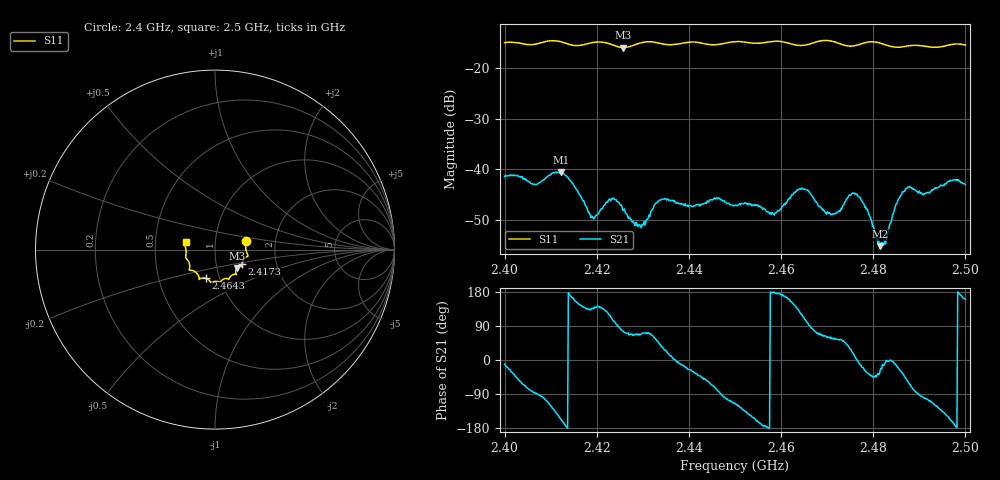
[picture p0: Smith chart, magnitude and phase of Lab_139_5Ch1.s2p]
# Hz S RI R 50
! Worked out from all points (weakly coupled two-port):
!   601 points, 2.4 GHz to 2.5 GHz, reference 50 ohm
!   highest |S21| = -40.56 dB at 2.4122 GHz (marker M1); lowest = -55.3 dB at 2.4815 GHz (marker M2)
!   lowest |S11| = -15.9 dB at 2.4257 GHz (marker M3), VSWR 1.38, Z = 62.5 - j13.1 ohm
!   |S11| at or under -10 dB: start of sweep to end of sweep
!   S12 and S22 are empty: the file has one direction only
!   S11 on the Smith chart (normalised r, x): 2.4 GHz: 1.41, +0.14; 2.4173 GHz: 1.34, -0.22; 2.4643 GHz: 0.86, -0.28; 2.5 GHz: 0.72, +0.06
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2.4e9  0.1723 0.0492  0.00832 -0.00159  0 0  0 0
2.406667e9  0.1729 -0.006  0.000299 -0.00701  0 0  0 0
2.412167e9  0.1789 -0.039  -0.00855 -0.00383  0 0  0 0
2.416667e9  0.1522 -0.0742  -0.00424 0.00312  0 0  0 0
2.417333e9  0.1513 -0.0815  -0.00349 0.00307  0 0  0 0
2.419167e9  0.1527 -0.0952  -0.00245 0.0023  0 0  0 0
2.423167e9  0.1446 -0.0937  -0.0019 0.00468  0 0  0 0
2.425667e9  0.1232 -0.1024  0.00092 0.00378  0 0  0 0
2.4295e9  0.1166 -0.1347  0.00103 0.00253  0 0  0 0
2.433333e9  0.1127 -0.1375  0.00322 0.00358  0 0  0 0
2.45e9  0.0291 -0.1812  -0.00181 -0.00402  0 0  0 0
2.458333e9  -0.0207 -0.1835  -0.00358 9.62e-05  0 0  0 0
2.464333e9  -0.0496 -0.1603  -0.00326 0.0054  0 0  0 0
2.466667e9  -0.0755 -0.1593  0.000602 0.00545  0 0  0 0
2.471167e9  -0.0876 -0.1624  0.00201 0.00295  0 0  0 0
2.476667e9  -0.1234 -0.117  0.00537 -0.000319  0 0  0 0
2.4815e9  -0.1422 -0.106  0.00153 -0.000798  0 0  0 0
2.483333e9  -0.1407 -0.0897  0.0025 -0.000155  0 0  0 0
2.485333e9  -0.1461 -0.0685  0.00463 -0.00161  0 0  0 0
2.4875e9  -0.1579 -0.0526  0.00371 -0.00551  0 0  0 0
2.491e9  -0.1622 -0.0345  -0.00103 -0.00559  0 0  0 0
2.5e9  -0.1642 0.0429  -0.00665 0.00241  0 0  0 0
